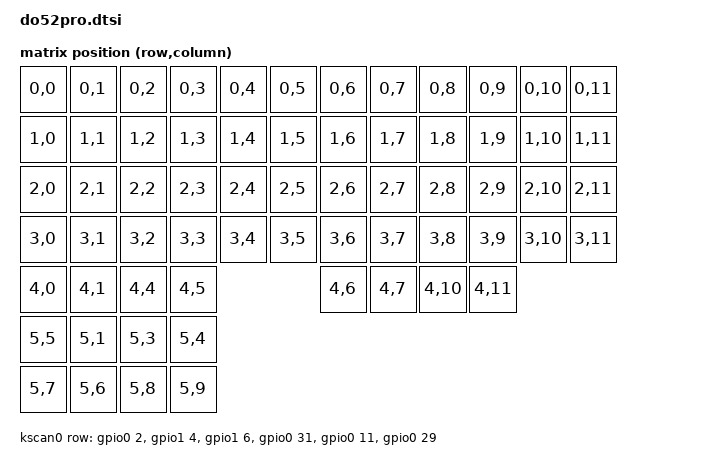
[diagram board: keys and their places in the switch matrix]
/*
 * do52pro split keyboard, driven by nRF52840 Pro Micro-style controllers
 * (nice!nano v2 compatible, e.g. "ProMicro NRF52840 V1940").
 *
 * The pin map comes from the community QMK port (ilfmoussa/do52pro), which is
 * reverse engineered and UNVERIFIED. It is translated by *physical position* on
 * the Pro Micro footprint (assumes the PCB footprint follows the usual Pro Micro
 * order: TX0, RX1, GND, GND, 2..9 on one side; RAW, GND, RST, VCC, A3..A0 on the other):
 *
 *   RP2040    footprint   nRF52840   used for
 *   GP0       TX0         P0.06      column
 *   GP1       RX1         P0.08      column
 *   GP2       2           P0.17      column
 *   GP3       3           P0.20      (wired split serial, unused)
 *   GP4       4           P0.22      column
 *   GP5       5           P0.24      column
 *   GP6       6           P1.00      column
 *   GP7       7           P0.11      row
 *   GP8       8           P1.04      row
 *   GP9       9           P1.06      row
 *   GP27      A1          P0.02      row
 *   GP28      A2          P0.29      row (DPAD)
 *   GP29      A3          P0.31      row
 */

#include <dt-bindings/zmk/matrix_transform.h>

/ {
    chosen {
        zmk,kscan = &kscan0;
        zmk,physical-layout = &physical_layout0;
    };

    physical_layout0: physical_layout_0 {
        compatible = "zmk,physical-layout";
        display-name = "Default Layout";
        kscan = <&kscan0>;
        transform = <&default_transform>;
    };

    /*
     * 6 rows x 12 columns (left half = columns 0-5, right half = columns 6-11).
     * Row 5 is the DPAD row. Bottom-row positions 2/3 (and 8/9) have no switch.
     * Key position order (this is the order of the bindings in the keymap):
     *   0-47   rows 0-3, left to right
     *   48-55  bottom row (8 keys)
     *   56-59  left DPAD, 60-63 right DPAD
     * DPAD column assignments are copied from the QMK README - VERIFY on hardware.
     */
    default_transform: keymap_transform0 {
        compatible = "zmk,matrix-transform";
        columns = <12>;
        rows = <6>;
        map = <
        RC(0,0)  RC(0,1)  RC(0,2)  RC(0,3)  RC(0,4)  RC(0,5)    RC(0,6)  RC(0,7)  RC(0,8)  RC(0,9)  RC(0,10) RC(0,11)
        RC(1,0)  RC(1,1)  RC(1,2)  RC(1,3)  RC(1,4)  RC(1,5)    RC(1,6)  RC(1,7)  RC(1,8)  RC(1,9)  RC(1,10) RC(1,11)
        RC(2,0)  RC(2,1)  RC(2,2)  RC(2,3)  RC(2,4)  RC(2,5)    RC(2,6)  RC(2,7)  RC(2,8)  RC(2,9)  RC(2,10) RC(2,11)
        RC(3,0)  RC(3,1)  RC(3,2)  RC(3,3)  RC(3,4)  RC(3,5)    RC(3,6)  RC(3,7)  RC(3,8)  RC(3,9)  RC(3,10) RC(3,11)
        RC(4,0)  RC(4,1)  RC(4,4)  RC(4,5)                      RC(4,6)  RC(4,7)  RC(4,10) RC(4,11)
        // left DPAD:  HOME     PGUP     PGDN     END
        RC(5,5)  RC(5,1)  RC(5,3)  RC(5,4)
        // right DPAD: LEFT     RIGHT    DOWN     UP
        RC(5,7)  RC(5,6)  RC(5,8)  RC(5,9)
        >;
    };

    kscan0: kscan0 {
        compatible = "zmk,kscan-gpio-matrix";
        diode-direction = "col2row";
        wakeup-source;

        /* Same on both halves. Column pins are set in the left/right overlays. */
        row-gpios
            = <&gpio0 2  (GPIO_ACTIVE_HIGH | GPIO_PULL_DOWN)>   /* GP27 / A1 / P0.02 */
            , <&gpio1 4  (GPIO_ACTIVE_HIGH | GPIO_PULL_DOWN)>   /* GP8  / 8  / P1.04 */
            , <&gpio1 6  (GPIO_ACTIVE_HIGH | GPIO_PULL_DOWN)>   /* GP9  / 9  / P1.06 */
            , <&gpio0 31 (GPIO_ACTIVE_HIGH | GPIO_PULL_DOWN)>   /* GP29 / A3 / P0.31 */
            , <&gpio0 11 (GPIO_ACTIVE_HIGH | GPIO_PULL_DOWN)>   /* GP7  / 7  / P0.11 */
            , <&gpio0 29 (GPIO_ACTIVE_HIGH | GPIO_PULL_DOWN)>   /* GP28 / A2 / P0.29 (DPAD) */
            ;
    };
};
